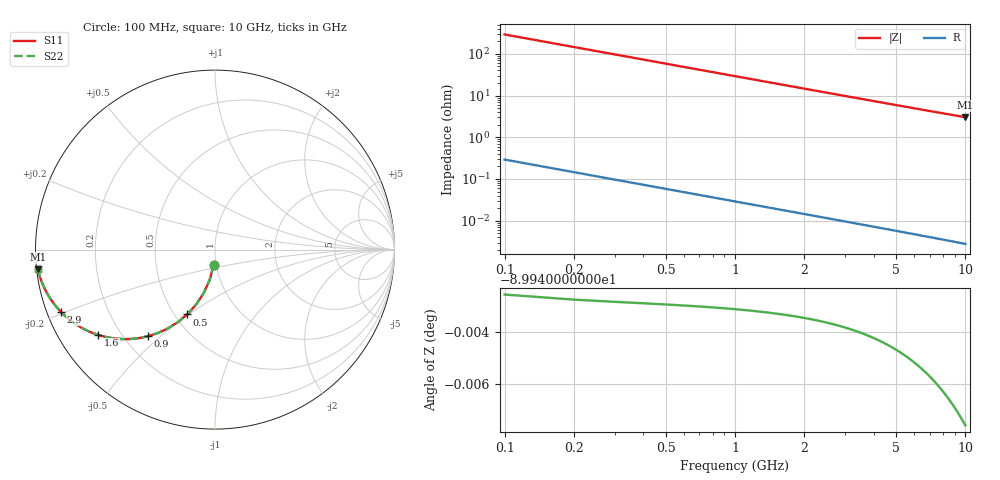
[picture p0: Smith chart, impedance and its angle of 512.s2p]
# Hz S RI R 50.00
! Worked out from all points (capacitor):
!   100 points, 100 MHz to 10 GHz, reference 50 ohm
!   read as one part in shunt: C = 5.45 pF near 100 MHz
!   lowest |Z| = 3.04 ohm at 10 GHz (marker M1)
!   S11 on the Smith chart (normalised r, x): 100 MHz: 0.97, -0.17; 500 MHz: 0.58, -0.49; 900 MHz: 0.30, -0.46; 1.6 GHz: 0.12, -0.32; 2.9 GHz: 0.04, -0.19; 10 GHz: 0.00, -0.06
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1e8  -0.00735 -0.0849  0.9926 -0.085  0.9926 -0.085  -0.00735 -0.0849
2e8  -0.0286 -0.1662  0.9714 -0.1664  0.9714 -0.1664  -0.0286 -0.1662
3e8  -0.0621 -0.2407  0.9379 -0.2409  0.9379 -0.2409  -0.0621 -0.2407
4e8  -0.1051 -0.3061  0.8948 -0.3064  0.8948 -0.3064  -0.1051 -0.3061
5e8  -0.155 -0.3612  0.845 -0.3616  0.845 -0.3616  -0.155 -0.3612
6e8  -0.2088 -0.4057  0.7912 -0.4062  0.7912 -0.4062  -0.2088 -0.4057
7e8  -0.2641 -0.4401  0.7358 -0.4407  0.7358 -0.4407  -0.2641 -0.4401
9e8  -0.3721 -0.4825  0.6279 -0.4833  0.6279 -0.4833  -0.3721 -0.4825
1e9  -0.4224 -0.493  0.5776 -0.4939  0.5776 -0.4939  -0.4224 -0.493
1.2e9  -0.5126 -0.4988  0.4874 -0.4999  0.4874 -0.4999  -0.5126 -0.4988
1.4e9  -0.5885 -0.491  0.4115 -0.4922  0.4115 -0.4922  -0.5885 -0.491
1.6e9  -0.6511 -0.4754  0.3489 -0.4768  0.3489 -0.4768  -0.6511 -0.4754
1.8e9  -0.7023 -0.4559  0.2977 -0.4575  0.2977 -0.4575  -0.7023 -0.4559
2e9  -0.7442 -0.4349  0.2558 -0.4367  0.2558 -0.4367  -0.7442 -0.4349
2.3e9  -0.7935 -0.4033  0.2065 -0.4053  0.2065 -0.4053  -0.7935 -0.4033
2.9e9  -0.859 -0.3462  0.1409 -0.3488  0.1409 -0.3488  -0.859 -0.3462
3.4e9  -0.8932 -0.3068  0.1068 -0.3099  0.1068 -0.3099  -0.8932 -0.3068
4.2e9  -0.9272 -0.2574  0.0728 -0.2612  0.0728 -0.2612  -0.9272 -0.2574
5.1e9  -0.9493 -0.2165  0.0506 -0.221  0.0506 -0.221  -0.9493 -0.2165
6.7e9  -0.97 -0.167  0.03 -0.1731  0.03 -0.1731  -0.97 -0.167
8.4e9  -0.9807 -0.1331  0.0192 -0.1407  0.0192 -0.1407  -0.9807 -0.1331
1e10  -0.9864 -0.1107  0.0136 -0.1199  0.0136 -0.1199  -0.9864 -0.1107
